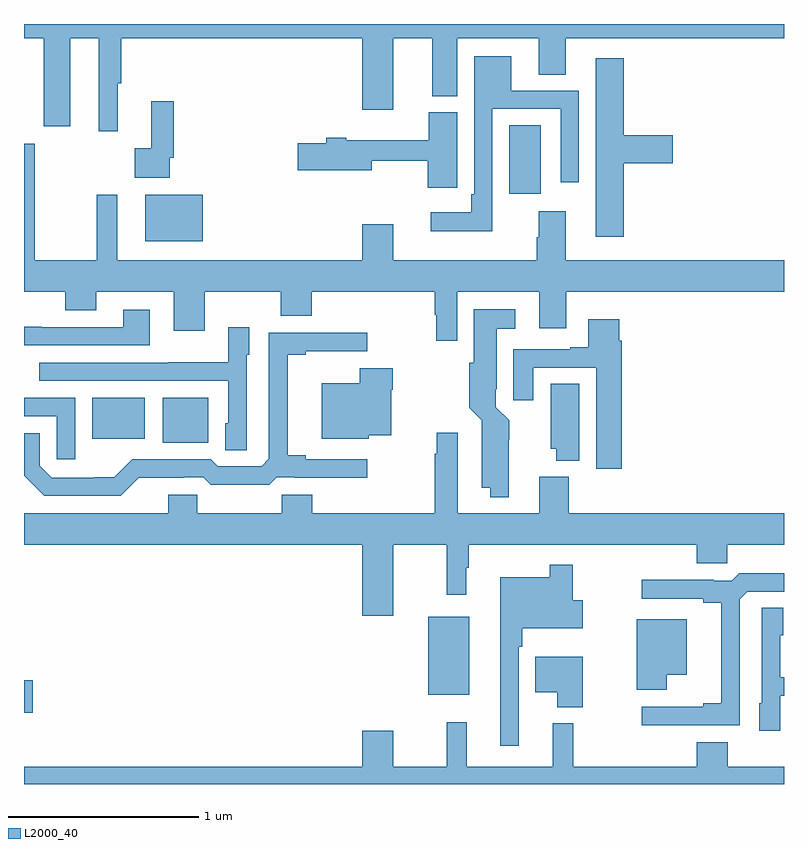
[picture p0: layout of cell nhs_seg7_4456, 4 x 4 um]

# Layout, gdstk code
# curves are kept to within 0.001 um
import gdstk
lib = gdstk.Library(unit=1e-6, precision=1e-09)
def R(c, l, rs):  # rectangles x0, y0, x1, y1
    for r in rs: c.add(gdstk.rectangle(r[:2], r[2:], *l))
def P(c, l, *ps):  # polygons
    for p in ps: c.add(gdstk.Polygon(p, *l))
L2000_40 = (2000, 40)

nhs_seg7_4456 = lib.new_cell('nhs_seg7_4456')
R(nhs_seg7_4456, L2000_40, [(391,1022.375,391.045,1022.546), (393.128,1022.471,393.343,1022.881), (391.73,1023.797,391.969,1024.033), (391.358,1023.818,391.636,1024.033), (391.637,1024.856,391.942,1025.101), (393.554,1025.106,393.721,1025.468)])
P(nhs_seg7_4456, L2000_40, [(391.493,1025.688),(391.511,1025.688),(391.511,1025.924),(392.78,1025.924),(392.78,1025.55),(392.944,1025.55),(392.944,1025.924),(393.149,1025.924),(393.149,1025.62),(393.28,1025.62),(393.28,1025.924),(393.71,1025.924),(393.71,1025.734),(393.85,1025.734),(393.85,1025.924),(395,1025.924),(395,1026),(391,1026),(391,1025.924),(391.103,1025.924),(391.103,1025.463),(391.243,1025.463),(391.243,1025.924),(391.394,1025.924),(391.394,1025.436),(391.493,1025.436)],
  [(393.465,1025.553),(393.825,1025.553),(393.825,1025.166),(393.921,1025.166),(393.921,1025.649),(393.565,1025.649),(393.565,1025.83),(393.369,1025.83),(393.369,1025.104),(393.353,1025.104),(393.353,1025.008),(393.141,1025.008),(393.141,1024.91),(393.465,1024.91)],
  [(394.157,1025.267),(394.414,1025.267),(394.414,1025.414),(394.157,1025.414),(394.157,1025.821),(394.01,1025.821),(394.01,1024.881),(394.157,1024.881)],
  [(391.767,1025.296),(391.787,1025.296),(391.787,1025.593),(391.67,1025.593),(391.67,1025.345),(391.584,1025.345),(391.584,1025.192),(391.767,1025.192)],
  [(393.279,1025.251),(393.28,1025.251),(393.28,1025.535),(393.131,1025.535),(393.131,1025.389),(392.695,1025.389),(392.695,1025.402),(392.591,1025.402),(392.591,1025.372),(392.442,1025.372),(392.442,1025.23),(392.83,1025.23),(392.83,1025.28),(393.124,1025.28),(393.124,1025.139),(393.279,1025.139)],
  [(393.279,1024.592),(393.713,1024.592),(393.713,1024.398),(393.853,1024.398),(393.853,1024.592),(395,1024.592),(395,1024.756),(393.85,1024.756),(393.85,1025.014),(393.71,1025.014),(393.71,1024.877),(393.698,1024.877),(393.698,1024.756),(392.944,1024.756),(392.944,1024.945),(392.78,1024.945),(392.78,1024.756),(391.492,1024.756),(391.492,1025.101),(391.383,1025.101),(391.383,1024.756),(391.057,1024.756),(391.057,1025.371),(391,1025.371),(391,1024.592),(391.217,1024.592),(391.217,1024.493),(391.381,1024.493),(391.381,1024.592),(391.787,1024.592),(391.787,1024.386),(391.951,1024.386),(391.951,1024.592),(392.351,1024.592),(392.351,1024.464),(392.515,1024.464),(392.515,1024.592),(393.163,1024.592),(393.163,1024.47),(393.171,1024.47),(393.171,1024.332),(393.279,1024.332)],
  [(393.552,1023.812),(393.553,1023.914),(393.483,1023.984),(393.483,1024.078),(393.487,1024.078),(393.487,1024.397),(393.586,1024.397),(393.586,1024.498),(393.368,1024.498),(393.368,1024.218),(393.343,1024.218),(393.343,1023.981),(393.41,1023.914),(393.41,1023.56),(393.455,1023.56),(393.455,1023.509),(393.552,1023.509)],
  [(391.663,1024.495),(391.523,1024.495),(391.523,1024.404),(391.093,1024.404),(391.093,1024.406),(391,1024.406),(391,1024.308),(391.663,1024.308)],
  [(394.145,1024.334),(394.132,1024.334),(394.132,1024.447),(393.971,1024.447),(393.971,1024.3),(393.875,1024.3),(393.875,1024.287),(393.575,1024.287),(393.575,1024.02),(393.679,1024.02),(393.679,1024.191),(394.013,1024.191),(394.013,1023.66),(394.145,1023.66)],
  [(392.172,1024.26),(392.185,1024.26),(392.185,1024.405),(392.076,1024.405),(392.076,1024.219),(391.759,1024.219),(391.759,1024.218),(391.081,1024.218),(391.081,1024.122),(392.076,1024.122),(392.076,1023.9),(392.06,1023.9),(392.06,1023.757),(392.172,1023.757)],
  [(391.604,1023.611),(391.844,1023.611),(391.844,1023.615),(391.944,1023.615),(391.984,1023.576),(392.291,1023.576),(392.331,1023.615),(392.425,1023.615),(392.425,1023.611),(392.806,1023.611),(392.806,1023.708),(392.482,1023.708),(392.482,1023.731),(392.387,1023.731),(392.387,1024.258),(392.482,1024.258),(392.482,1024.277),(392.806,1024.277),(392.806,1024.374),(392.289,1024.374),(392.289,1023.711),(392.25,1023.672),(392.019,1023.672),(391.983,1023.708),(391.569,1023.708),(391.475,1023.614),(391.37,1023.614),(391.37,1023.612),(391.146,1023.612),(391.083,1023.675),(391.083,1023.846),(391,1023.846),(391,1023.623),(391.106,1023.516),(391.509,1023.516)],
  [(392.814,1023.836),(392.932,1023.836),(392.932,1024.076),(392.94,1024.076),(392.94,1024.189),(392.767,1024.189),(392.767,1024.108),(392.567,1024.108),(392.567,1023.818),(392.814,1023.818)],
  [(393.922,1024.106),(393.773,1024.106),(393.773,1023.765),(393.8,1023.765),(393.8,1023.701),(393.922,1023.701)],
  [(391.269,1024.032),(391,1024.032),(391,1023.936),(391.173,1023.936),(391.173,1023.708),(391.269,1023.708)],
  [(392.944,1023.26),(393.226,1023.26),(393.226,1022.997),(393.328,1022.997),(393.328,1023.137),(393.34,1023.137),(393.34,1023.26),(394.541,1023.26),(394.541,1023.162),(394.701,1023.162),(394.701,1023.26),(395,1023.26),(395,1023.424),(393.866,1023.424),(393.866,1023.616),(393.713,1023.616),(393.713,1023.424),(393.283,1023.424),(393.283,1023.85),(393.173,1023.85),(393.173,1023.737),(393.161,1023.737),(393.161,1023.424),(392.516,1023.424),(392.516,1023.522),(392.356,1023.522),(392.356,1023.424),(391.911,1023.424),(391.911,1023.522),(391.76,1023.522),(391.76,1023.424),(391,1023.424),(391,1023.26),(392.78,1023.26),(392.78,1022.886),(392.944,1022.886)],
  [(393.603,1022.723),(393.623,1022.723),(393.623,1022.819),(393.94,1022.819),(393.94,1022.967),(393.889,1022.967),(393.889,1023.154),(393.768,1023.154),(393.768,1023.088),(393.506,1023.088),(393.506,1022.202),(393.603,1022.202)],
  [(394.767,1022.973),(394.806,1023.012),(395,1023.012),(395,1023.109),(394.765,1023.109),(394.725,1023.069),(394.631,1023.069),(394.631,1023.074),(394.251,1023.074),(394.251,1022.976),(394.574,1022.976),(394.574,1022.954),(394.67,1022.954),(394.67,1022.426),(394.574,1022.426),(394.574,1022.406),(394.251,1022.406),(394.251,1022.31),(394.767,1022.31)],
  [(394.98,1022.465),(395,1022.465),(395,1022.562),(394.98,1022.562),(394.98,1022.784),(394.996,1022.784),(394.996,1022.927),(394.884,1022.927),(394.884,1022.424),(394.871,1022.424),(394.871,1022.28),(394.98,1022.28)],
  [(394.384,1022.576),(394.489,1022.576),(394.489,1022.866),(394.226,1022.866),(394.226,1022.496),(394.384,1022.496)],
  [(393.94,1022.671),(393.692,1022.671),(393.692,1022.483),(393.806,1022.483),(393.806,1022.405),(393.94,1022.405)],
  [(395,1022.092),(394.705,1022.092),(394.705,1022.221),(394.541,1022.221),(394.541,1022.092),(393.892,1022.092),(393.892,1022.32),(393.782,1022.32),(393.782,1022.092),(393.329,1022.092),(393.329,1022.326),(393.226,1022.326),(393.226,1022.092),(392.944,1022.092),(392.944,1022.281),(392.78,1022.281),(392.78,1022.092),(391,1022.092),(391,1022),(395,1022)])

lib.write_gds('nhs_seg7_4456.gds')
